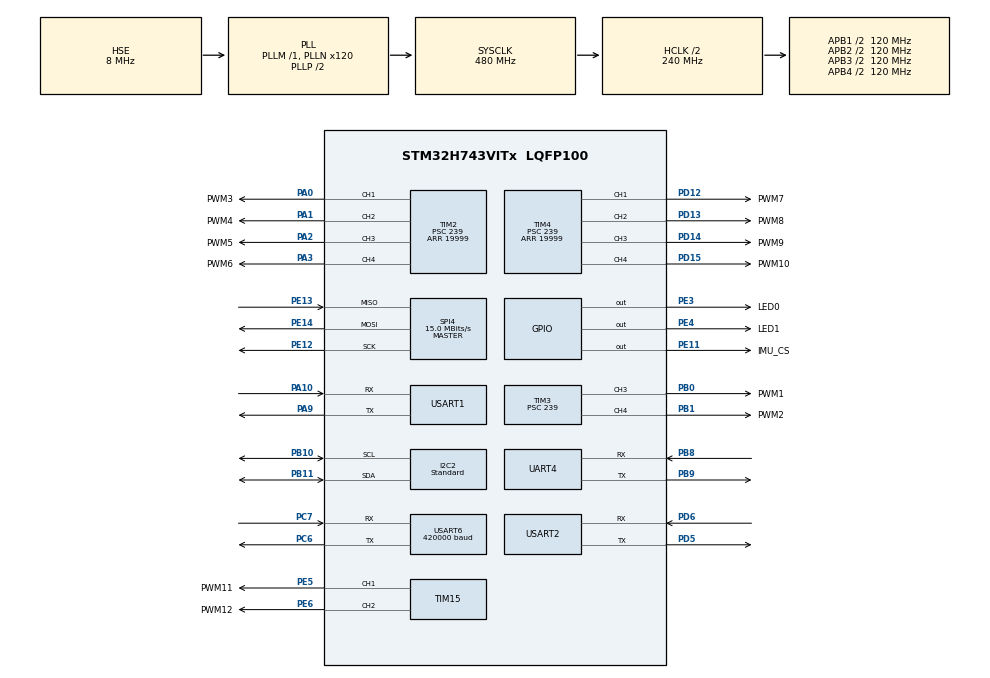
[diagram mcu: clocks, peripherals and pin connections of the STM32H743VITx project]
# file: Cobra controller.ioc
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CORTEX_M7.default_mode_Activation=1
Dma.Request0=USART6_RX
Dma.USART6_RX.0.Direction=DMA_PERIPH_TO_MEMORY
Dma.USART6_RX.0.EventEnable=DISABLE
Dma.USART6_RX.0.FIFOMode=DMA_FIFOMODE_DISABLE
Dma.USART6_RX.0.Instance=DMA2_Stream1
Dma.USART6_RX.0.MemDataAlignment=DMA_MDATAALIGN_BYTE
Dma.USART6_RX.0.MemInc=DMA_MINC_ENABLE
Dma.USART6_RX.0.Mode=DMA_NORMAL
Dma.USART6_RX.0.PeriphDataAlignment=DMA_PDATAALIGN_BYTE
Dma.USART6_RX.0.PeriphInc=DMA_PINC_DISABLE
Dma.USART6_RX.0.Polarity=HAL_DMAMUX_REQ_GEN_RISING
Dma.USART6_RX.0.Priority=DMA_PRIORITY_LOW
Dma.USART6_RX.0.RequestNumber=1
Dma.USART6_RX.0.SignalID=NONE
Dma.USART6_RX.0.SyncEnable=DISABLE
Dma.USART6_RX.0.SyncPolarity=HAL_DMAMUX_SYNC_NO_EVENT
Dma.USART6_RX.0.SyncRequestNumber=1
Dma.USART6_RX.0.SyncSignalID=NONE
FREERTOS.Tasks01=IMUTask,47,128,StartIMUTask,Default,NULL,Dynamic,NULL,NULL;BaroTask,8,128,StartBaroTask,Default,NULL,Dynamic,NULL,NULL;KalmanTask,47,128,StartKalmanTask,Default,NULL,Dynamic,NULL,NULL;CSRFTask,24,128,StartCSRFTask,Default,NULL,Dynamic,NULL,NULL;TelemetryTask,8,128,StartTelemetryTask,Default,NULL,Dynamic,NULL,NULL;servoTask,24,128,StartServoTask,Default,NULL,Dynamic,NULL,NULL;StatusLedTask,8,128,StartStatusLedTask,Default,NULL,Dynamic,NULL,NULL
FREERTOS.configUSE_NEWLIB_REENTRANT=1
I2C2.I2C_Speed_Mode=I2C_Standard
I2C2.Timing=0x307075B1
Mcu.Family=STM32H7
Mcu.Name=STM32H743VITx
Mcu.Package=LQFP100
NVIC.DMA2_Stream1_IRQn=true\:5\:0\:false\:false\:true\:true\:false\:true\:true
NVIC.PriorityGroup=NVIC_PRIORITYGROUP_4
NVIC.TIM6_DAC_IRQn=true\:15\:0\:false\:false\:true\:false\:false\:true\:true
NVIC.TimeBase=TIM6_DAC_IRQn
NVIC.TimeBaseIP=TIM6
NVIC.USART6_IRQn=true\:5\:0\:false\:false\:true\:true\:true\:true\:true
PA0.GPIO_Label=PWM3
PA0.Signal=S_TIM2_CH1_ETR
PA1.GPIO_Label=PWM4
PA1.Signal=S_TIM2_CH2
PA10.Mode=Asynchronous
PA10.Signal=USART1_RX
PA2.GPIO_Label=PWM5
PA2.Signal=S_TIM2_CH3
PA3.GPIO_Label=PWM6
PA3.Signal=S_TIM2_CH4
PA9.Mode=Asynchronous
PA9.Signal=USART1_TX
PB0.GPIO_Label=PWM1
PB0.Signal=S_TIM3_CH3
PB1.GPIO_Label=PWM2
PB1.Signal=S_TIM3_CH4
PB10.Mode=I2C
PB10.Signal=I2C2_SCL
PB11.Mode=I2C
PB11.Signal=I2C2_SDA
PB8.Mode=Asynchronous
PB8.Signal=UART4_RX
PB9.Mode=Asynchronous
PB9.Signal=UART4_TX
PC6.Mode=Asynchronous
PC6.Signal=USART6_TX
PC7.Mode=Asynchronous
PC7.Signal=USART6_RX
PD12.GPIO_Label=PWM7
PD12.Signal=S_TIM4_CH1
PD13.GPIO_Label=PWM8
PD13.Signal=S_TIM4_CH2
PD14.GPIO_Label=PWM9
PD14.Signal=S_TIM4_CH3
PD15.GPIO_Label=PWM10
PD15.Signal=S_TIM4_CH4
PD5.Mode=Asynchronous
PD5.Signal=USART2_TX
PD6.Mode=Asynchronous
PD6.Signal=USART2_RX
PE11.GPIO_Label=IMU_CS
PE11.Signal=GPIO_Output
PE12.Mode=Full_Duplex_Master
PE12.Signal=SPI4_SCK
PE13.Mode=Full_Duplex_Master
PE13.Signal=SPI4_MISO
PE14.Mode=Full_Duplex_Master
PE14.Signal=SPI4_MOSI
PE3.GPIO_Label=LED0
PE3.Signal=GPIO_Output
PE4.GPIO_Label=LED1
PE4.Signal=GPIO_Output
PE5.GPIO_Label=PWM11
PE5.Signal=S_TIM15_CH1
PE6.GPIO_Label=PWM12
PE6.Signal=S_TIM15_CH2
PH0-OSC_IN\ (PH0).Mode=HSE-External-Oscillator
PH0-OSC_IN\ (PH0).Signal=RCC_OSC_IN
PH1-OSC_OUT\ (PH1).Mode=HSE-External-Oscillator
PH1-OSC_OUT\ (PH1).Signal=RCC_OSC_OUT
ProjectManager.HeapSize=0x200
ProjectManager.StackSize=0x400
ProjectManager.TargetToolchain=STM32CubeIDE
RCC.ADCFreq_Value=16125000
RCC.APB1Freq_Value=120000000
RCC.APB2Freq_Value=120000000
RCC.APB3Freq_Value=120000000
RCC.APB4Freq_Value=120000000
RCC.CortexFreq_Value=480000000
RCC.D1PPRE=RCC_APB3_DIV2
RCC.D2PPRE1=RCC_APB1_DIV2
RCC.D2PPRE2=RCC_APB2_DIV2
RCC.D3PPRE=RCC_APB4_DIV2
RCC.DIVM1=1
RCC.DIVN1=120
RCC.HCLKFreq_Value=240000000
RCC.HPRE=RCC_HCLK_DIV2
RCC.HSE_VALUE=8000000
RCC.PLL2FRACN=0
RCC.PLL3FRACN=0
RCC.PLLFRACN=0
RCC.PLLSourceVirtual=RCC_PLLSOURCE_HSE
RCC.SYSCLKFreq_VALUE=480000000
RCC.SYSCLKSource=RCC_SYSCLKSOURCE_PLLCLK
RCC.USBFreq_Value=480000000
SH.S_TIM15_CH1.0=TIM15_CH1,PWM Generation1 CH1
SH.S_TIM15_CH2.0=TIM15_CH2,PWM Generation2 CH2
SH.S_TIM2_CH1_ETR.0=TIM2_CH1,PWM Generation1 CH1
SH.S_TIM2_CH2.0=TIM2_CH2,PWM Generation2 CH2
SH.S_TIM2_CH3.0=TIM2_CH3,PWM Generation3 CH3
SH.S_TIM2_CH4.0=TIM2_CH4,PWM Generation4 CH4
SH.S_TIM3_CH3.0=TIM3_CH3,PWM Generation3 CH3
SH.S_TIM3_CH4.0=TIM3_CH4,PWM Generation4 CH4
SH.S_TIM4_CH1.0=TIM4_CH1,PWM Generation1 CH1
SH.S_TIM4_CH2.0=TIM4_CH2,PWM Generation2 CH2
SH.S_TIM4_CH3.0=TIM4_CH3,PWM Generation3 CH3
SH.S_TIM4_CH4.0=TIM4_CH4,PWM Generation4 CH4
SPI4.BaudRatePrescaler=SPI_BAUDRATEPRESCALER_8
SPI4.CalculateBaudRate=15.0 MBits/s
SPI4.DataSize=SPI_DATASIZE_8BIT
SPI4.Direction=SPI_DIRECTION_2LINES
SPI4.Mode=SPI_MODE_MASTER
SPI4.VirtualType=VM_MASTER
TIM15.Channel-PWM\ Generation1\ CH1=TIM_CHANNEL_1
TIM15.Channel-PWM\ Generation2\ CH2=TIM_CHANNEL_2
TIM2.Channel-PWM\ Generation1\ CH1=TIM_CHANNEL_1
TIM2.Channel-PWM\ Generation2\ CH2=TIM_CHANNEL_2
TIM2.Channel-PWM\ Generation3\ CH3=TIM_CHANNEL_3
TIM2.Channel-PWM\ Generation4\ CH4=TIM_CHANNEL_4
TIM2.Period=19999
TIM2.Prescaler=239
TIM2.Pulse-PWM\ Generation1\ CH1=1500
TIM2.Pulse-PWM\ Generation2\ CH2=1500
TIM2.Pulse-PWM\ Generation3\ CH3=1500
TIM2.Pulse-PWM\ Generation4\ CH4=1500
TIM3.Channel-PWM\ Generation3\ CH3=TIM_CHANNEL_3
TIM3.Channel-PWM\ Generation4\ CH4=TIM_CHANNEL_4
TIM3.Period=19999
TIM3.Prescaler=239
TIM3.Pulse-PWM\ Generation3\ CH3=1500
TIM3.Pulse-PWM\ Generation4\ CH4=1500
TIM4.Channel-PWM\ Generation1\ CH1=TIM_CHANNEL_1
TIM4.Channel-PWM\ Generation2\ CH2=TIM_CHANNEL_2
TIM4.Channel-PWM\ Generation3\ CH3=TIM_CHANNEL_3
TIM4.Channel-PWM\ Generation4\ CH4=TIM_CHANNEL_4
TIM4.Period=19999
TIM4.Prescaler=239
TIM4.Pulse-PWM\ Generation1\ CH1=1500
TIM4.Pulse-PWM\ Generation2\ CH2=1500
TIM4.Pulse-PWM\ Generation3\ CH3=1500
TIM4.Pulse-PWM\ Generation4\ CH4=1500
USART1.VirtualMode-Asynchronous=VM_ASYNC
USART2.VirtualMode-Asynchronous=VM_ASYNC
USART6.BaudRate=420000
USART6.Mode=MODE_TX_RX
USART6.VirtualMode=VM_ASYNC
VP_FREERTOS_VS_CMSIS_V2.Mode=CMSIS_V2
VP_MEMORYMAP_VS_MEMORYMAP.Mode=CurAppReg
VP_SYS_VS_tim6.Mode=TIM6
VP_TIM14_VS_ClockSourceINT.Mode=Enable_Timer
VP_TIM15_VS_ClockSourceINT.Mode=Internal
VP_TIM2_VS_ClockSourceINT.Mode=Internal
VP_TIM3_VS_ClockSourceINT.Mode=Internal
VP_TIM4_VS_ClockSourceINT.Mode=Internal
board=custom

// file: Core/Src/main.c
/* USER CODE BEGIN Header */
/**
  ******************************************************************************
  * @file           : main.c
  * @brief          : Main program body
  ******************************************************************************
  * @attention
  *
  * Copyright (c) 2025 STMicroelectronics.
  * All rights reserved.
  *
  * This software is licensed under terms that can be found in the LICENSE file
  * in the root directory of this software component.
  * If no LICENSE file comes with this software, it is provided AS-IS.
  *
  ******************************************************************************
  */
/* USER CODE END Header */
#include "main.h"
#include "cmsis_os.h"
#include "dma.h"
#include "i2c.h"
#include "memorymap.h"
#include "spi.h"
#include "tim.h"
#include "usart.h"
#include "gpio.h"

/* USER CODE BEGIN Includes */
#include <math.h>
#include "icm42688.h"
#include "dps310.h"
#include "kalman.h"
#include "crsf.h"
#include <string.h>
/* USER CODE END Includes */

/* USER CODE BEGIN PV */

ICM42688_Handle_t hImu;
DPS310_Handle_t dps310;

extern Kalman kalmanRoll, kalmanPitch;

extern DMA_HandleTypeDef hdma_usart6_rx;

extern osThreadId_t CSRFTaskHandle;

uint8_t ReceiveBuffer[64];

extern uint8_t frameBuf[64];

BatteryData_t batteryData = {100,100,100,100};

/* USER CODE END PV */

void SystemClock_Config(void);
static void MPU_Config(void);
void MX_FREERTOS_Init(void);

int main(void)
{

  /* MPU Configuration--------------------------------------------------------*/
  MPU_Config();

  /* MCU Configuration--------------------------------------------------------*/

  /* Reset of all peripherals, Initializes the Flash interface and the Systick. */
  HAL_Init();

  /* Configure the system clock */
  SystemClock_Config();

  /* Initialize all configured peripherals */
  MX_GPIO_Init();
  MX_DMA_Init();
  MX_SPI4_Init();
  MX_I2C2_Init();
  MX_TIM2_Init();
  MX_TIM3_Init();
  MX_TIM4_Init();
  MX_TIM15_Init();
  MX_UART4_Init();
  MX_USART1_UART_Init();
  MX_USART2_UART_Init();
  MX_USART6_UART_Init();
  MX_TIM14_Init();
  /* USER CODE BEGIN 2 */

  hImu.hspi  = &hspi4;
  hImu.csPort = IMU_CS_GPIO_Port;
  hImu.csPin  = IMU_CS_Pin;

  dps310.hi2c = &hi2c2;
  dps310.address = DPS310_I2C_ADDR;

  HAL_GPIO_WritePin(hImu.csPort, hImu.csPin, GPIO_PIN_SET);

  if (ICM42688_Init(&hImu) != HAL_OK){
	  HAL_GPIO_WritePin(LED1_GPIO_Port, LED1_Pin, GPIO_PIN_SET);
  }

  if (DPS310_Init(&dps310) != HAL_OK){
	  HAL_GPIO_WritePin(LED1_GPIO_Port, LED1_Pin, GPIO_PIN_SET);
  }
  DPS310_SetMode(&dps310, DPS310_MODE_BACKGROUND_ALL);

  __HAL_UART_DISABLE_IT(&huart6, UART_IT_RXNE);
  __HAL_UART_DISABLE_IT(&huart6, UART_IT_IDLE);

      // 2️⃣ Clear any pending UART errors (overrun, framing error, etc.)
  __HAL_UART_CLEAR_OREFLAG(&huart6);
  __HAL_UART_CLEAR_FEFLAG(&huart6);
  __HAL_UART_CLEAR_NEFLAG(&huart6);
  __HAL_UART_CLEAR_PEFLAG(&huart6);
  __HAL_UART_CLEAR_FLAG(&huart6, UART_FLAG_IDLE);
  HAL_UARTEx_ReceiveToIdle_DMA(&huart6, dmaRxBuf, 64);
  __HAL_UART_ENABLE_IT(&huart6, UART_IT_RXNE);
  __HAL_UART_ENABLE_IT(&huart6, UART_IT_IDLE);

  /* USER CODE END 2 */

  /* Init scheduler */
  osKernelInitialize();

  /* Call init function for freertos objects (in cmsis_os2.c) */
  MX_FREERTOS_Init();

  /* Start scheduler */
  osKernelStart();

  /* We should never get here as control is now taken by the scheduler */

  /* Infinite loop */
  while (1)
  {

  }
}

void SystemClock_Config(void)
{
  RCC_OscInitTypeDef RCC_OscInitStruct = {0};
  RCC_ClkInitTypeDef RCC_ClkInitStruct = {0};

  /** Supply configuration update enable
  */
  HAL_PWREx_ConfigSupply(PWR_LDO_SUPPLY);

  /** Configure the main internal regulator output voltage
  */
  __HAL_PWR_VOLTAGESCALING_CONFIG(PWR_REGULATOR_VOLTAGE_SCALE0);

  while(!__HAL_PWR_GET_FLAG(PWR_FLAG_VOSRDY)) {}

  /** Initializes the RCC Oscillators according to the specified parameters
  * in the RCC_OscInitTypeDef structure.
  */
  RCC_OscInitStruct.OscillatorType = RCC_OSCILLATORTYPE_HSE;
  RCC_OscInitStruct.HSEState = RCC_HSE_ON;
  RCC_OscInitStruct.PLL.PLLState = RCC_PLL_ON;
  RCC_OscInitStruct.PLL.PLLSource = RCC_PLLSOURCE_HSE;
  RCC_OscInitStruct.PLL.PLLM = 1;
  RCC_OscInitStruct.PLL.PLLN = 120;
  RCC_OscInitStruct.PLL.PLLP = 2;
  RCC_OscInitStruct.PLL.PLLQ = 2;
  RCC_OscInitStruct.PLL.PLLR = 2;
  RCC_OscInitStruct.PLL.PLLRGE = RCC_PLL1VCIRANGE_3;
  RCC_OscInitStruct.PLL.PLLVCOSEL = RCC_PLL1VCOWIDE;
  RCC_OscInitStruct.PLL.PLLFRACN = 0;
  if (HAL_RCC_OscConfig(&RCC_OscInitStruct) != HAL_OK)
  {
    Error_Handler();
  }

  /** Initializes the CPU, AHB and APB buses clocks
  */
  RCC_ClkInitStruct.ClockType = RCC_CLOCKTYPE_HCLK|RCC_CLOCKTYPE_SYSCLK
                              |RCC_CLOCKTYPE_PCLK1|RCC_CLOCKTYPE_PCLK2
                              |RCC_CLOCKTYPE_D3PCLK1|RCC_CLOCKTYPE_D1PCLK1;
  RCC_ClkInitStruct.SYSCLKSource = RCC_SYSCLKSOURCE_PLLCLK;
  RCC_ClkInitStruct.SYSCLKDivider = RCC_SYSCLK_DIV1;
  RCC_ClkInitStruct.AHBCLKDivider = RCC_HCLK_DIV2;
  RCC_ClkInitStruct.APB3CLKDivider = RCC_APB3_DIV2;
  RCC_ClkInitStruct.APB1CLKDivider = RCC_APB1_DIV2;
  RCC_ClkInitStruct.APB2CLKDivider = RCC_APB2_DIV2;
  RCC_ClkInitStruct.APB4CLKDivider = RCC_APB4_DIV2;

  if (HAL_RCC_ClockConfig(&RCC_ClkInitStruct, FLASH_LATENCY_4) != HAL_OK)
  {
    Error_Handler();
  }
}

/* USER CODE BEGIN 4 */
void HAL_UART_TxCpltCallback(UART_HandleTypeDef *huart)
{
    if (huart->Instance == USART6)
    {
        // Transmission is complete.
        // Optionally, set a flag or notify a task here.
    }
}

void HAL_UARTEx_RxEventCallback(UART_HandleTypeDef *huart, uint16_t Size)
   {
	if (huart->Instance == USART6 && Size > 0) {
		memset(frameBuf, 0, sizeof(frameBuf));
		memcpy(frameBuf, dmaRxBuf, Size);
		frameLength = Size;
		if (frameBuf[0] == 0xC8) {
		   	processCRSFframe(frameBuf, frameLength);
		}
		if (Size < sizeof(dmaRxBuf)) {
			memset(dmaRxBuf + Size, 0, sizeof(dmaRxBuf) - Size);
		}
		BaseType_t xHigherPTW = pdFALSE;
		vTaskNotifyGiveFromISR(CSRFTaskHandle, &xHigherPTW);
		portYIELD_FROM_ISR(xHigherPTW);
		HAL_UARTEx_ReceiveToIdle_DMA(&huart6, dmaRxBuf, sizeof(dmaRxBuf));
	}
}
/* USER CODE END 4 */

 /* MPU Configuration */

void MPU_Config(void)
{
  MPU_Region_InitTypeDef MPU_InitStruct = {0};

  /* Disables the MPU */
  HAL_MPU_Disable();

  /** Initializes and configures the Region and the memory to be protected
  */
  MPU_InitStruct.Enable = MPU_REGION_ENABLE;
  MPU_InitStruct.Number = MPU_REGION_NUMBER0;
  MPU_InitStruct.BaseAddress = 0x0;
  MPU_InitStruct.Size = MPU_REGION_SIZE_4GB;
  MPU_InitStruct.SubRegionDisable = 0x87;
  MPU_InitStruct.TypeExtField = MPU_TEX_LEVEL0;
  MPU_InitStruct.AccessPermission = MPU_REGION_NO_ACCESS;
  MPU_InitStruct.DisableExec = MPU_INSTRUCTION_ACCESS_DISABLE;
  MPU_InitStruct.IsShareable = MPU_ACCESS_SHAREABLE;
  MPU_InitStruct.IsCacheable = MPU_ACCESS_NOT_CACHEABLE;
  MPU_InitStruct.IsBufferable = MPU_ACCESS_NOT_BUFFERABLE;

  HAL_MPU_ConfigRegion(&MPU_InitStruct);
  /* Enables the MPU */
  HAL_MPU_Enable(MPU_PRIVILEGED_DEFAULT);

}

void HAL_TIM_PeriodElapsedCallback(TIM_HandleTypeDef *htim)
{
  if (htim->Instance == TIM6) {
    HAL_IncTick();
  }
}

void Error_Handler(void)
{
  __disable_irq();
  while (1)
  {
  }
}

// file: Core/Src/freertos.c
/* USER CODE BEGIN Header */
/**
  ******************************************************************************
  * File Name          : freertos.c
  * Description        : Code for freertos applications
  ******************************************************************************
  * @attention
  *
  * Copyright (c) 2025 STMicroelectronics.
  * All rights reserved.
  *
  * This software is licensed under terms that can be found in the LICENSE file
  * in the root directory of this software component.
  * If no LICENSE file comes with this software, it is provided AS-IS.
  *
  ******************************************************************************
  */
/* USER CODE END Header */

#include "FreeRTOS.h"
#include "task.h"
#include "main.h"
#include "cmsis_os.h"

/* USER CODE BEGIN Includes */
#include "kalman.h"
#include "dps310.h"
#include "icm42688.h"
#include "crsf.h"
#include "tim.h"
#include "pwm.h"
#include "config.h"
#include "ahrs.h"
#include "mixer.h"
/* USER CODE END Includes */

/* USER CODE BEGIN Variables */

ahrs_t ahrs;

extern float temperature;
extern float pressure;

float roll, pitch, yaw;

float accel_x_g;
float accel_y_g;
float accel_z_g;

float gyro_x_dps;
float gyro_y_dps;
float gyro_z_dps;

float gyro_x_rad;
float gyro_y_rad;
float gyro_z_rad;

float accMag;

extern ICM42688_Data_t sensorData;
extern ICM42688_Handle_t hImu;
extern DPS310_Handle_t dps310;
extern BatteryData_t batteryData;

/* USER CODE END Variables */
/* Definitions for IMUTask */
osThreadId_t IMUTaskHandle;
const osThreadAttr_t IMUTask_attributes = {
  .name = "IMUTask",
  .stack_size = 128 * 4,
  .priority = (osPriority_t) osPriorityHigh7,
};
/* Definitions for BaroTask */
osThreadId_t BaroTaskHandle;
const osThreadAttr_t BaroTask_attributes = {
  .name = "BaroTask",
  .stack_size = 128 * 4,
  .priority = (osPriority_t) osPriorityLow,
};
/* Definitions for KalmanTask */
osThreadId_t KalmanTaskHandle;
const osThreadAttr_t KalmanTask_attributes = {
  .name = "KalmanTask",
  .stack_size = 128 * 4,
  .priority = (osPriority_t) osPriorityHigh7,
};
/* Definitions for CSRFTask */
osThreadId_t CSRFTaskHandle;
const osThreadAttr_t CSRFTask_attributes = {
  .name = "CSRFTask",
  .stack_size = 128 * 4,
  .priority = (osPriority_t) osPriorityNormal,
};
/* Definitions for TelemetryTask */
osThreadId_t TelemetryTaskHandle;
const osThreadAttr_t TelemetryTask_attributes = {
  .name = "TelemetryTask",
  .stack_size = 128 * 4,
  .priority = (osPriority_t) osPriorityLow,
};
/* Definitions for servoTask */
osThreadId_t servoTaskHandle;
const osThreadAttr_t servoTask_attributes = {
  .name = "servoTask",
  .stack_size = 128 * 4,
  .priority = (osPriority_t) osPriorityNormal,
};
/* Definitions for StatusLedTask */
osThreadId_t StatusLedTaskHandle;
const osThreadAttr_t StatusLedTask_attributes = {
  .name = "StatusLedTask",
  .stack_size = 128 * 4,
  .priority = (osPriority_t) osPriorityLow,
};

void StartIMUTask(void *argument);
void StartBaroTask(void *argument);
void StartKalmanTask(void *argument);
void StartCSRFTask(void *argument);
void StartTelemetryTask(void *argument);
void StartServoTask(void *argument);
void StartStatusLedTask(void *argument);

void MX_FREERTOS_Init(void); /* (MISRA C 2004 rule 8.1) */

void MX_FREERTOS_Init(void) {

  /* Create the thread(s) */
  /* creation of IMUTask */
  IMUTaskHandle = osThreadNew(StartIMUTask, NULL, &IMUTask_attributes);

  /* creation of BaroTask */
  BaroTaskHandle = osThreadNew(StartBaroTask, NULL, &BaroTask_attributes);

  /* creation of KalmanTask */
  KalmanTaskHandle = osThreadNew(StartKalmanTask, NULL, &KalmanTask_attributes);

  /* creation of CSRFTask */
  CSRFTaskHandle = osThreadNew(StartCSRFTask, NULL, &CSRFTask_attributes);

  /* creation of TelemetryTask */
  TelemetryTaskHandle = osThreadNew(StartTelemetryTask, NULL, &TelemetryTask_attributes);

  /* creation of servoTask */
  servoTaskHandle = osThreadNew(StartServoTask, NULL, &servoTask_attributes);

  /* creation of StatusLedTask */
  StatusLedTaskHandle = osThreadNew(StartStatusLedTask, NULL, &StatusLedTask_attributes);

}

void StartIMUTask(void *argument)
{
  /* USER CODE BEGIN StartIMUTask */
  /* Infinite loop */
	for(;;)
	  {
	  	  if (ICM42688_GetSensorData(&hImu, &sensorData) == HAL_OK)
	  	  {
//	  	  temperature_degC = ((float)sensorData.temperature) / 132.48f + 25.0f;
	  		accel_x_g = (float)sensorData.accel_x * ICM42688_ACCEL_SCALE;
	  		accel_y_g = (float)sensorData.accel_y * ICM42688_ACCEL_SCALE;
	  		accel_z_g = (float)sensorData.accel_z * ICM42688_ACCEL_SCALE;

	  		gyro_x_dps = (float)sensorData.gyro_x * ICM42688_GYRO_SCALE;
	  		gyro_y_dps = (float)sensorData.gyro_y * ICM42688_GYRO_SCALE;
	  		gyro_z_dps = (float)sensorData.gyro_z * ICM42688_GYRO_SCALE;

	  		gyro_x_rad = gyro_x_dps * M_PI / 180.0;
	  		gyro_y_rad = gyro_y_dps * M_PI / 180.0;
	  		gyro_z_rad = gyro_z_dps * M_PI / 180.0;

	  		accMag = sqrtf(accel_x_g * accel_x_g + accel_y_g * accel_y_g + accel_z_g * accel_z_g);
	  	  }
	  	  osDelay(1);
	    }
  /* USER CODE END StartIMUTask */
}

void StartBaroTask(void *argument)
{
  /* USER CODE BEGIN StartBaroTask */
  /* Infinite loop */
	for(;;)
	  {
	  	  if (DPS310_ReadTempAndPressure(&dps310) == HAL_OK){
	  	  }
	  	  osDelay(100);
	    }
  /* USER CODE END StartBaroTask */
}

void StartKalmanTask(void *argument)
{
  /* USER CODE BEGIN StartKalmanTask */
  /* Infinite loop */
		TickType_t xLastWakeTime = xTaskGetTickCount();
		const TickType_t xFrequency = pdMS_TO_TICKS(1);
		ahrsInit(&ahrs);
		for(;;)
		{
			bool accHealthy = (accMag > ACC_MIN && accMag < ACC_MAX);
			bool isArmed = false;
			float dt = 0.001f;

			ahrsUpdate(&ahrs, gyro_x_rad, gyro_y_rad, gyro_z_rad, accel_x_g, accel_y_g, accel_z_g, accHealthy, isArmed, dt);

			vTaskDelayUntil(&xLastWakeTime, xFrequency);
		}
  /* USER CODE END StartKalmanTask */
}

void StartCSRFTask(void *argument)
{
  /* USER CODE BEGIN StartCSRFTask */
  /* Infinite loop */
	for(;;)
	{
		ulTaskNotifyTake(pdTRUE, portMAX_DELAY);
		processCRSFframe(frameBuf, frameLength);
	}
  /* USER CODE END StartCSRFTask */
}

void StartTelemetryTask(void *argument)
{
  /* USER CODE BEGIN StartTelemetryTask */
  /* Infinite loop */
  for(;;)
  {
	  batteryData.remaining++;
	  if(batteryData.remaining > 100) batteryData.remaining = 0;
	  CRSF_SendBatteryData(&batteryData);

    osDelay(100);
  }
  /* USER CODE END StartTelemetryTask */
}

void StartServoTask(void *argument)
{
  /* USER CODE BEGIN StartServoTask */
	uint8_t pwms[] = {1,2,3,4,5};
	startPWM(pwms, sizeof(pwms) / sizeof(pwms[0]));
  /* Infinite loop */
  for(;;)
  {
//	  passthroughMode(&rcChannels);
	  osDelay(10);

  }
  /* USER CODE END StartServoTask */
}

void StartStatusLedTask(void *argument)
{
  /* USER CODE BEGIN StartStatusLedTask */
  /* Infinite loop */
  for(;;)
  {
	  HAL_GPIO_TogglePin(LED0_GPIO_Port, LED0_Pin);
    osDelay(1000);
  }
  /* USER CODE END StartStatusLedTask */
}
